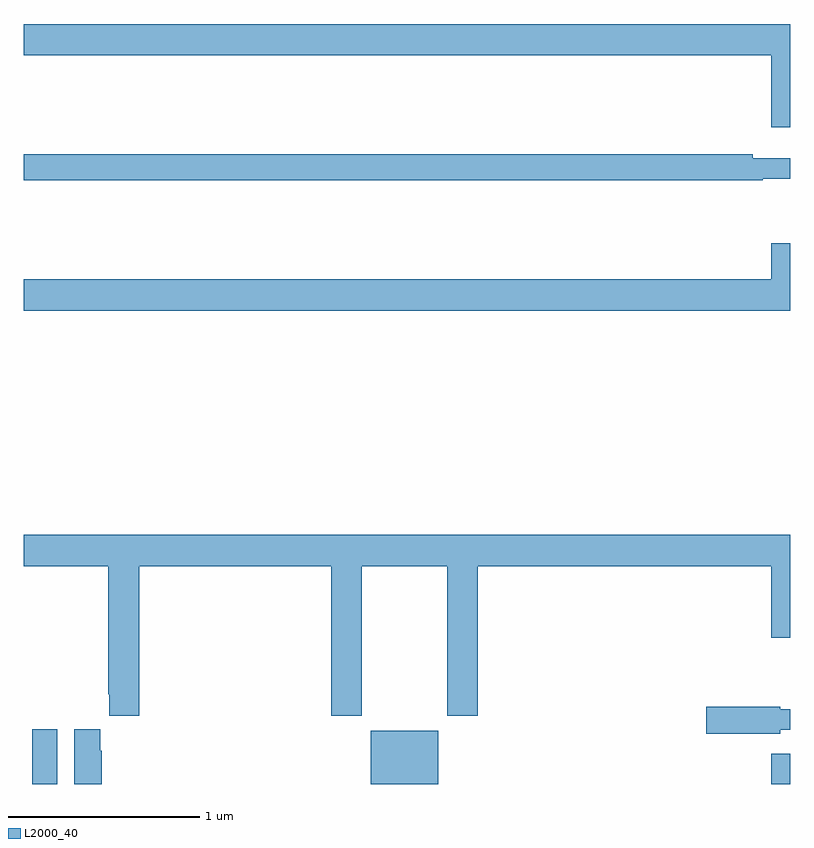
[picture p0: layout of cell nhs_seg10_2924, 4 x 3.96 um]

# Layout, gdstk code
import gdstk
lib = gdstk.Library(unit=1e-6, precision=1e-09)
def R(c, l, rs):  # rectangles x0, y0, x1, y1
    for r in rs: c.add(gdstk.rectangle(r[:2], r[2:], *l))
def P(c, l, *ps):  # polygons
    for p in ps: c.add(gdstk.Polygon(p, *l))
L2000_40 = (2000, 40)

nhs_seg10_2924 = lib.new_cell('nhs_seg10_2924')
R(nhs_seg10_2924, L2000_40, [(269.045,1312.5,269.176,1312.786), (270.812,1312.5,271.162,1312.777), (272.9,1312.5,273,1312.657)])
P(nhs_seg10_2924, L2000_40, [(273,1316.464),(269,1316.464),(269,1316.3),(272.9,1316.3),(272.9,1315.926),(273,1315.926)],
  [(272.855,1315.656),(273,1315.656),(273,1315.765),(272.804,1315.765),(272.804,1315.784),(269,1315.784),(269,1315.648),(272.855,1315.648)],
  [(273,1315.321),(272.9,1315.321),(272.9,1315.132),(269,1315.132),(269,1314.968),(273,1314.968)],
  [(269.603,1313.636),(270.605,1313.636),(270.605,1312.857),(270.765,1312.857),(270.765,1313.636),(271.21,1313.636),(271.21,1312.857),(271.37,1312.857),(271.37,1313.636),(272.9,1313.636),(272.9,1313.262),(273,1313.262),(273,1313.8),(269,1313.8),(269,1313.636),(269.443,1313.636),(269.443,1312.969),(269.447,1312.969),(269.447,1312.857),(269.603,1312.857)],
  [(272.946,1312.782),(273,1312.782),(273,1312.891),(272.946,1312.891),(272.946,1312.904),(272.562,1312.904),(272.562,1312.762),(272.946,1312.762)],
  [(269.408,1312.673),(269.401,1312.673),(269.401,1312.786),(269.264,1312.786),(269.264,1312.5),(269.408,1312.5)])

lib.write_gds('nhs_seg10_2924.gds')
